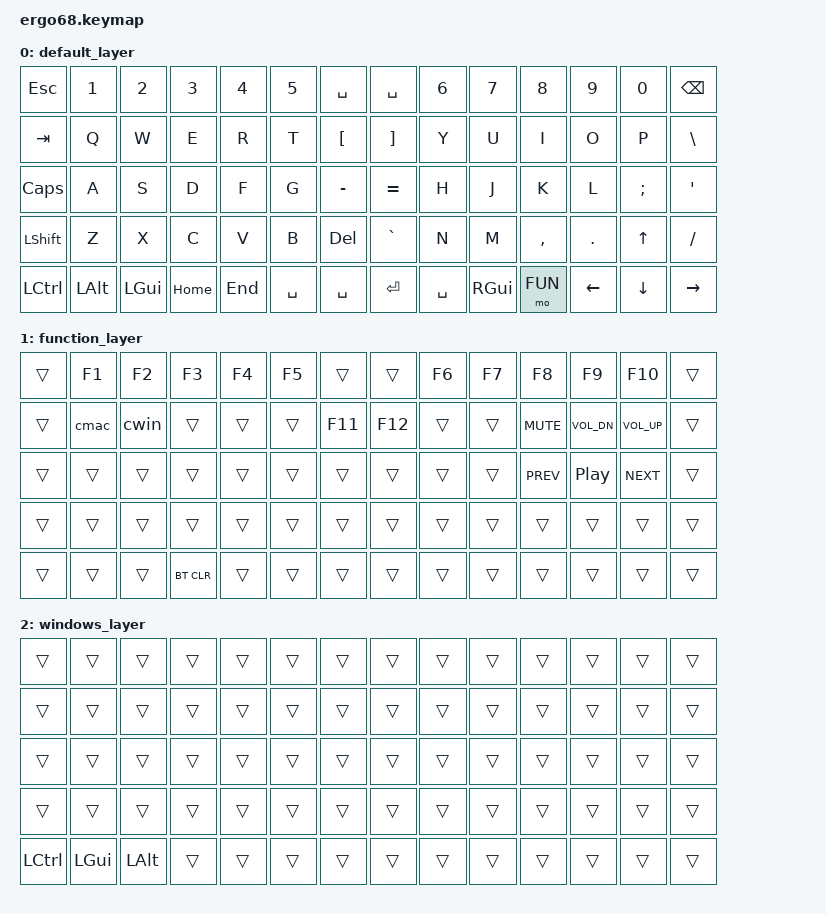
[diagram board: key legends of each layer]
/*
 * Copyright (c) 2020 The ZMK Contributors
 *
 * SPDX-License-Identifier: MIT
 */

#include <behaviors.dtsi>
#include <dt-bindings/zmk/keys.h>
#include <dt-bindings/zmk/bt.h>
#include "macro.dtsi"

/ {
        combos {
                compatible = "zmk,combos";
                combo_bt_reset_all {
                        timeout-ms = <50>;
                        key-positions = <0 13 48>;
                        bindings = <&bt BT_CLR_ALL>;
                };
        };
        nice_view_spi {
                cs-gpios = <&gpio0 13 GPIO_ACTIVE_LOW>;
        };
        keymap {
                compatible = "zmk,keymap";

                default_layer {
// -----------------------------------------------------------------------------------------
// |  ESC |  1  |  2  |  3  |  4  |  5  |                           |  6  |  7   |  8  |  9  |  0  | BSPC |
// |  `   |  Q  |  W  |  E  |  R  |  T  |  [  |               |  ]  |  Y  |  U   |  I  |  O  |  P  |  \   |
// |  TAB |  A  |  S  |  D  |  F  |  G  |  -  |               |  =  |  H  |  J   |  K  |  L  |  ;  |  "   |
// | SHFT |  Z  |  X  |  C  |  V  |  B  | DEL |               | CAPS|  N  |  M   |  ,  |  .  | UP  |  /   |
// | LCTRL| OPT | LCMD| HOME| END | SPC | ENT |               | ENT | SPC | RCMD | mo 1| LEFT| DOWN| RIGHT|
                        bindings = <
   &kp ESC   &kp N1    &kp N2   &kp N3    &kp N4    &kp N5    &kp SPACE          &kp SPACE &kp N6     &kp N7      &kp N8     &kp N9   &kp N0    &kp BSPC 
   &kp TAB   &kp Q     &kp W    &kp E     &kp R     &kp T     &kp LBKT           &kp RBKT  &kp Y      &kp U       &kp I      &kp O    &kp P     &kp BSLH
   &kp CAPS  &kp A     &kp S    &kp D     &kp F     &kp G     &kp MINUS          &kp EQUAL &kp H      &kp J       &kp K      &kp L    &kp SEMI  &kp SQT
   &kp LSHFT &kp Z     &kp X    &kp C     &kp V     &kp B     &kp DEL            &kp GRAVE &kp N      &kp M       &kp COMMA  &kp DOT  &kp UP    &kp FSLH
   &kp LCTRL &kp LALT  &kp LGUI &kp HOME  &kp END   &kp SPACE &kp SPACE          &kp ENTER &kp SPACE  &kp RGUI    &mo FUN    &kp LEFT &kp DOWN  &kp RIGHT
                        >;
                };
                function_layer {
// -----------------------------------------------------------------------------------------
// |      |  F1 |  F2 |  F3 |  F4 |  F5 |                           |  F6 |   F7 |  F8 |  F9 | F10 |      |
// |      |     |     |     |     |     | F11 |               | F12 |     |      | MUTE|VOLDN|VOLUP|      |
// |      |     |     |     |     |     |     |               |     |     |      | PREV|  PP | NEXT|      |
// |      |     |     |     |     |     |     |               |     |     |      |     |     |     |      |
// |      |     |     |     |     |     |     |               |     |     |      |     |     |     |      |
                        bindings = <
   &trans  &kp F1  &kp F2  &kp F3      &kp F4  &kp F5  &trans         &trans  &kp F6  &kp F7  &kp F8     &kp F9       &kp F10      &trans 
   &trans  &cmac   &cwin   &trans      &trans  &trans  &kp F11        &kp F12 &trans  &trans  &kp C_MUTE &kp C_VOL_DN &kp C_VOL_UP &trans
   &trans  &trans  &trans  &trans      &trans  &trans  &trans         &trans  &trans  &trans  &kp C_PREV &kp C_PP     &kp C_NEXT   &trans
   &trans  &trans  &trans  &trans      &trans  &trans  &trans         &trans  &trans  &trans  &trans     &trans       &trans       &trans
   &trans  &trans  &trans  &bt BT_CLR  &trans  &trans  &trans         &trans  &trans  &trans  &trans     &trans       &trans       &trans
                        >;
                };
                windows_layer {
// -----------------------------------------------------------------------------------------
// |      |     |     |     |     |     |                           |     |      |     |     |     |      |
// |      |     |     |     |     |     |     |               |     |     |      |     |     |     |      |
// |      |     |     |     |     |     |     |               |     |     |      |     |     |     |      |
// |      |     |     |     |     |     |     |               |     |     |      |     |     |     |      |
// | LCTRL| WIN | ALT |     |     |     |     |               |     |     |      |     |     |     |      |
                        bindings = <
   &trans    &trans    &trans    &trans  &trans  &trans  &trans         &trans  &trans  &trans  &trans  &trans  &trans  &trans 
   &trans    &trans    &trans    &trans  &trans  &trans  &trans         &trans  &trans  &trans  &trans  &trans  &trans  &trans
   &trans    &trans    &trans    &trans  &trans  &trans  &trans         &trans  &trans  &trans  &trans  &trans  &trans  &trans
   &trans    &trans    &trans    &trans  &trans  &trans  &trans         &trans  &trans  &trans  &trans  &trans  &trans  &trans
   &kp LCTRL &kp LGUI  &kp LALT  &trans  &trans  &trans  &trans         &trans  &trans  &trans  &trans  &trans  &trans  &trans
                        >;
                };
        };
};
